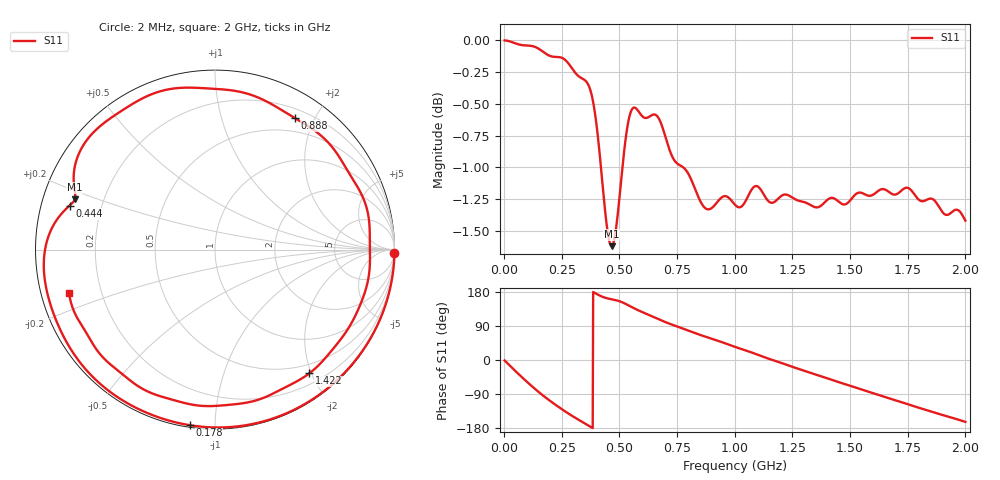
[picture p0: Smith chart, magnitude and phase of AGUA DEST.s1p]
! TOUCHSTONE file generated by CST MICROWAVE STUDIO
! Date and time: Tue Jul 28 22:45:22 2026
! Project name: Sonda-Coaxial_21mm_DisifixB_v2.cst
! Parameters = {h_recipiente=5; l_conector=50; r_arandela=35; r_ext=10.5; r_int=3; r_recipiente=100; z_recipiente=-10}
! Header version: 2018
! Port assignment regex: !\s*Touchstone port\s*([0-9]+)\s*=\s*(CST MWS port|CST DS port)\s*([0-9]+|Zmin|Zmax)\s*\(\"(.*)\"\)(\s*mode\s*([0-9]+))?.*
! Touchstone port assignment:
! Touchstone port 1 = CST MWS port 1 ("")
# GHz S RI R 50
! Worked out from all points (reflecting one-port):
!   1000 points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, 2 MHz to 2 GHz, reference 50 ohm
!   lowest |S11| = -1.6 dB at 466 MHz (marker M1), VSWR 10.74, Z = 4.79 + j8.64 ohm
!   phase of S11 starts at -1 deg and turns -522 deg over the sweep
!   S11 on the Smith chart (normalised r, x): 2 MHz: 0, -95; 178 MHz: 0.01, -0.87; 444 MHz: 0.08, +0.15; 888 MHz: 0.31, +1.73; 1.422 GHz: 0.36, -1.97; 2 GHz: 0.08, -0.15
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0.002  0.9998 -0.0211
0.046  0.8847 -0.4609
0.096  0.5563 -0.8255
0.136  0.216 -0.9702
0.178  -0.1409 -0.9783
0.214  -0.4074 -0.8971
0.252  -0.6397 -0.7479
0.3  -0.8379 -0.4953
0.356  -0.9473 -0.1753
0.408  -0.9048 0.127
0.444  -0.8106 0.2445
0.466  -0.7808 0.2806
0.502  -0.7868 0.3729
0.546  -0.7371 0.5758
0.58  -0.6221 0.7025
0.634  -0.43 0.8288
0.682  -0.2304 0.8975
0.752  0.0295 0.8936
0.888  0.4449 0.7335
1.002  0.7106 0.4866
1.11  0.8572 0.1708
1.252  0.8223 -0.2741
1.422  0.5261 -0.689
1.502  0.3221 -0.803
1.63  -0.0513 -0.8718
1.752  -0.3981 -0.7788
1.874  -0.6633 -0.5522
2  -0.8134 -0.2438
